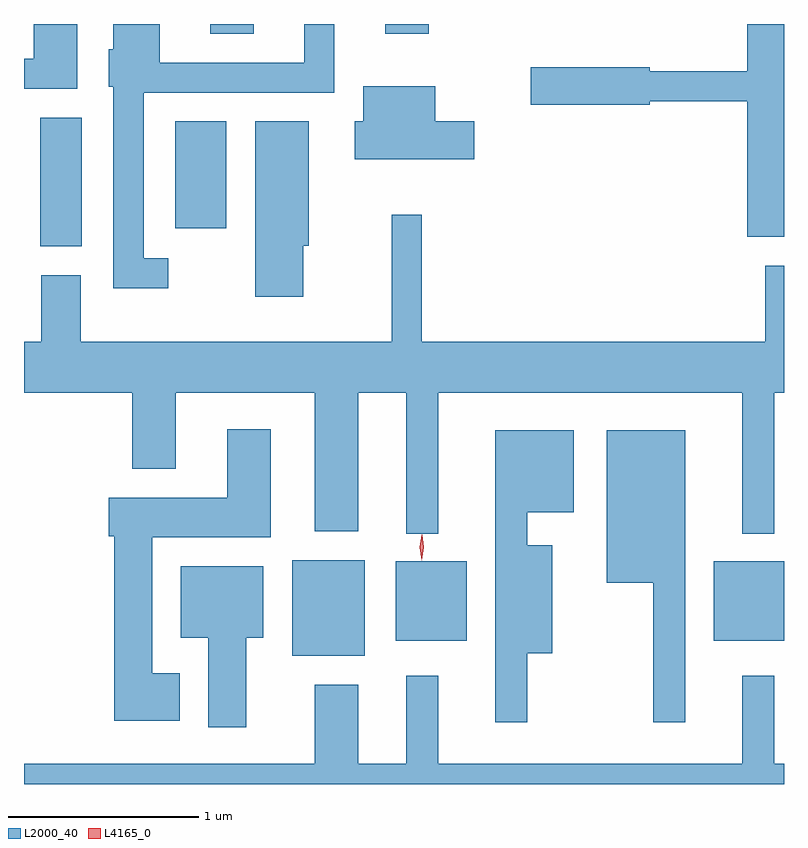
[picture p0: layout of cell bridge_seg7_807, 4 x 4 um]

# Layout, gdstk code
import gdstk
lib = gdstk.Library(unit=1e-6, precision=1e-09)
def R(c, l, rs):  # rectangles x0, y0, x1, y1
    for r in rs: c.add(gdstk.rectangle(r[:2], r[2:], *l))
def P(c, l, *ps):  # polygons
    for p in ps: c.add(gdstk.Polygon(p, *l))
L2000_40 = (2000, 40)
L4165_0 = (4165, 0)

bridge_seg7_807 = lib.new_cell('bridge_seg7_807')
R(bridge_seg7_807, L2000_40, [(220.671,1761.771,221.054,1762.274), (221.216,1761.851,221.589,1762.269), (222.891,1761.851,223.26,1762.269), (219.346,1763.926,219.564,1764.604), (220.056,1764.021,220.324,1764.584), (220.241,1765.046,220.469,1765.097), (221.161,1765.046,221.389,1765.097)])
P(bridge_seg7_807, L2000_40, [(220.018,1763.864),(219.889,1763.864),(219.889,1764.736),(220.894,1764.736),(220.894,1765.097),(220.736,1765.097),(220.736,1764.894),(219.974,1764.894),(219.974,1765.097),(219.731,1765.097),(219.731,1764.964),(219.706,1764.964),(219.706,1764.766),(219.731,1764.766),(219.731,1763.706),(220.018,1763.706)],
  [(219.539,1765.097),(219.311,1765.097),(219.311,1764.914),(219.26,1764.914),(219.26,1764.756),(219.539,1764.756)],
  [(223.26,1765.097),(223.066,1765.097),(223.066,1764.849),(222.554,1764.849),(222.554,1764.869),(221.926,1764.869),(221.926,1764.671),(222.554,1764.671),(222.554,1764.691),(223.066,1764.691),(223.066,1763.976),(223.26,1763.976)],
  [(221.629,1764.584),(221.424,1764.584),(221.424,1764.769),(221.046,1764.769),(221.046,1764.584),(221.001,1764.584),(221.001,1764.386),(221.629,1764.386)],
  [(220.729,1763.931),(220.759,1763.931),(220.759,1764.584),(220.476,1764.584),(220.476,1763.661),(220.729,1763.661)],
  [(221.439,1763.156),(223.041,1763.156),(223.041,1762.413),(223.209,1762.413),(223.209,1763.156),(223.26,1763.156),(223.26,1763.824),(223.161,1763.824),(223.161,1763.424),(221.354,1763.424),(221.354,1764.093),(221.196,1764.093),(221.196,1763.424),(219.559,1763.424),(219.559,1763.774),(219.351,1763.774),(219.351,1763.424),(219.26,1763.424),(219.26,1763.156),(219.831,1763.156),(219.831,1762.756),(220.059,1762.756),(220.059,1763.156),(220.791,1763.156),(220.791,1762.426),(221.019,1762.426),(221.019,1763.156),(221.271,1763.156),(221.271,1762.413),(221.439,1762.413)],
  [(220.079,1761.679),(219.934,1761.679),(219.934,1762.396),(220.559,1762.396),(220.559,1762.964),(220.331,1762.964),(220.331,1762.604),(219.706,1762.604),(219.706,1762.401),(219.736,1762.401),(219.736,1761.431),(220.079,1761.431)],
  [(221.909,1761.786),(222.039,1761.786),(222.039,1762.354),(221.909,1762.354),(221.909,1762.526),(222.154,1762.526),(222.154,1762.959),(221.741,1762.959),(221.741,1761.423),(221.909,1761.423)],
  [(222.739,1762.959),(222.326,1762.959),(222.326,1762.156),(222.571,1762.156),(222.571,1761.423),(222.739,1761.423)],
  [(220.429,1761.866),(220.519,1761.866),(220.519,1762.244),(220.086,1762.244),(220.086,1761.866),(220.231,1761.866),(220.231,1761.396),(220.429,1761.396)],
  [(223.26,1761.204),(223.209,1761.204),(223.209,1761.668),(223.041,1761.668),(223.041,1761.204),(221.439,1761.204),(221.439,1761.668),(221.271,1761.668),(221.271,1761.204),(221.019,1761.204),(221.019,1761.619),(220.791,1761.619),(220.791,1761.204),(219.26,1761.204),(219.26,1761.097),(223.26,1761.097)])
P(bridge_seg7_807, L4165_0, [(221.353,1762.274),(221.344,1762.342),(221.354,1762.41),(221.355,1762.41),(221.355,1762.41),(221.364,1762.342),(221.354,1762.274),(221.354,1762.274)],
  [(221.353,1762.278),(221.353,1762.279),(221.343,1762.343),(221.353,1762.407),(221.353,1762.407),(221.354,1762.407),(221.364,1762.343),(221.354,1762.279)])

lib.write_gds('bridge_seg7_807.gds')
